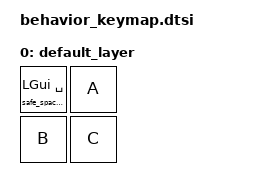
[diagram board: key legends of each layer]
#include "../hold-taps.dtsi"

/ {
    keymap {
        compatible = "zmk,keymap";

        default_layer {
            bindings = <
                &safe_space_mt LGUI SPACE &kp A
                &kp B &kp C>;
        };
    };
};
